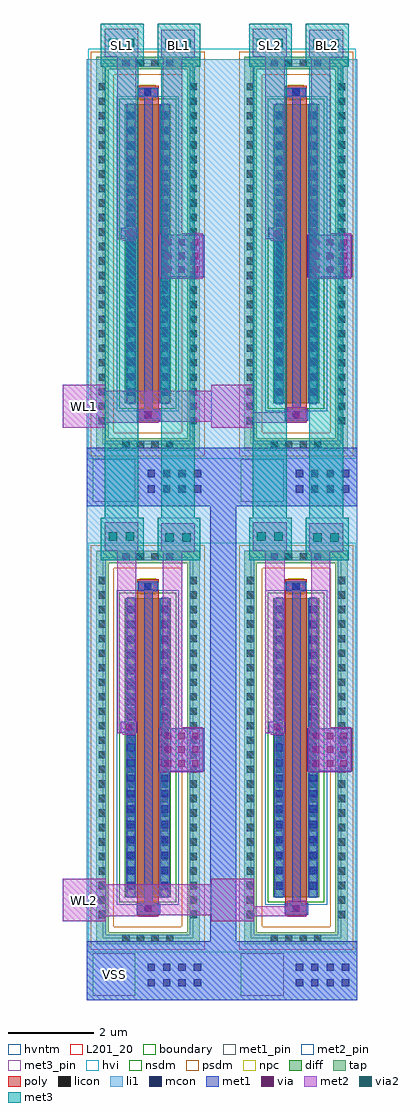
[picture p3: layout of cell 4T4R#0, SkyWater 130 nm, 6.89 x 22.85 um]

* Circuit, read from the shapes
.subckt 4T4R#0 BL1 BL2 SL1 SL2 VSS WL1 WL2
XM1 BL1 WL2 SL1 VSS sky130_fd_pr__nfet_g5v0d10v5 w=7 l=0.5
XM2 BL1 WL1 SL1 VSS sky130_fd_pr__nfet_g5v0d10v5 w=7 l=0.5
XM3 BL2 WL2 SL2 VSS sky130_fd_pr__nfet_g5v0d10v5 w=7 l=0.5
XM4 BL2 WL1 SL2 VSS sky130_fd_pr__nfet_g5v0d10v5 w=7 l=0.5
.ends

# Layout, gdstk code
import gdstk
lib = gdstk.Library(unit=1e-6, precision=1e-09)
def R(c, l, rs):  # rectangles x0, y0, x1, y1
    for r in rs: c.add(gdstk.rectangle(r[:2], r[2:], *l))
def A(c, l, x, y, w, h, nx, ny, dx, dy):  # array of equal rectangles
    R(c, l, [(x+i*dx, y+j*dy, x+i*dx+w, y+j*dy+h) for i in range(nx) for j in range(ny)])
diff = (65, 20)
tap = (65, 44)
poly = (66, 20)
licon = (66, 44)
li1 = (67, 20)
mcon = (67, 44)
met1_pin = (68, 16)
met1 = (68, 20)
via = (68, 44)
met2_pin = (69, 16)
met2 = (69, 20)
via2 = (69, 44)
met3_pin = (70, 16)
met3 = (70, 20)
hvi = (75, 20)
nsdm = (93, 44)
psdm = (94, 20)
npc = (95, 20)
hvntm = (125, 20)
L201_20 = (201, 20)
boundary = (235, 4)

sky130_fd_pr_reram__rera = lib.new_cell('sky130_fd_pr_reram__reram_cell')
R(sky130_fd_pr_reram__rera, met1_pin, [(0,-2,1,-1)])
R(sky130_fd_pr_reram__rera, met1, [(-0.03,-2,1.03,-1)])
A(sky130_fd_pr_reram__rera, via, 0.105, -1.895, 0.15, 0.15, 3, 3, 0.32, 0.32)
R(sky130_fd_pr_reram__rera, met2_pin, [(0,-2,1,-1)])
R(sky130_fd_pr_reram__rera, met2, [(0,-2.03,1,-0.97)])
R(sky130_fd_pr_reram__rera, L201_20, [(0,-2,1,-1)])
sky130_fd_pr_reram__rera.add(gdstk.Label('TE', (0.5,-1.5), layer=69, texttype=5))
sky130_fd_pr_reram__rera.add(gdstk.Label('BE', (0.5,-1.5), layer=68, texttype=5))

sky130_fd_pr__nfet_g5v0d = lib.new_cell('sky130_fd_pr__nfet_g5v0d10v5_9YEQ2B')
R(sky130_fd_pr__nfet_g5v0d, diff, [(-0.54,-3.5,0.54,3.5)])
R(sky130_fd_pr__nfet_g5v0d, tap, [(-1.21,-4.61,1.21,-4.32), (-1.21,-4.32,-0.92,4.32), (0.92,-4.32,1.21,4.32), (-1.21,4.32,1.21,4.61)])
R(sky130_fd_pr__nfet_g5v0d, poly, [(-0.25,-3.94,0.25,3.94)])
A(sky130_fd_pr__nfet_g5v0d, licon, -0.595, -4.55, 0.17, 0.17, 4, 2, 0.34, 8.93)
A(sky130_fd_pr__nfet_g5v0d, licon, -1.15, -3.995, 0.17, 0.17, 1, 24, 0, 0.34)
A(sky130_fd_pr__nfet_g5v0d, licon, 0.98, -3.995, 0.17, 0.17, 1, 24, 0, 0.34)
A(sky130_fd_pr__nfet_g5v0d, licon, -0.48, -3.315, 0.17, 0.17, 1, 20, 0, 0.34)
A(sky130_fd_pr__nfet_g5v0d, licon, 0.31, -3.315, 0.17, 0.17, 1, 20, 0, 0.34)
R(sky130_fd_pr__nfet_g5v0d, licon, [(-0.085,-3.86,0.085,-3.69), (-0.085,3.69,0.085,3.86)])
R(sky130_fd_pr__nfet_g5v0d, li1, [(-1.15,-4.55,1.15,-4.38), (-1.15,-4.38,-0.98,4.38), (0.98,-4.38,1.15,4.38), (-0.25,-3.86,0.25,-3.69), (-0.48,-3.52,-0.31,3.52), (0.31,-3.52,0.48,3.52), (-0.25,3.69,0.25,3.86), (-1.15,4.38,1.15,4.55)])
A(sky130_fd_pr__nfet_g5v0d, mcon, -0.48, -3.325, 0.17, 0.17, 1, 19, 0, 0.36)
A(sky130_fd_pr__nfet_g5v0d, mcon, 0.31, -3.325, 0.17, 0.17, 1, 19, 0, 0.36)
R(sky130_fd_pr__nfet_g5v0d, mcon, [(-0.085,-3.86,0.085,-3.69), (-0.085,3.69,0.085,3.86)])
R(sky130_fd_pr__nfet_g5v0d, met1, [(-0.23,-3.89,0.23,-3.66), (-0.51,-3.5,-0.28,3.5), (0.28,-3.5,0.51,3.5), (-0.23,3.66,0.23,3.89)])
R(sky130_fd_pr__nfet_g5v0d, hvi, [(-1.395,-4.795,1.395,4.795)])
R(sky130_fd_pr__nfet_g5v0d, nsdm, [(-0.665,-3.625,0.665,3.625)])
R(sky130_fd_pr__nfet_g5v0d, psdm, [(-1.335,-4.735,1.335,-4.195), (-1.335,-4.195,-0.795,4.195), (0.795,-4.195,1.335,4.195), (-1.335,4.195,1.335,4.735)])
R(sky130_fd_pr__nfet_g5v0d, npc, [(-0.185,-3.96,0.185,-3.59), (-0.185,3.59,0.185,3.96)])
R(sky130_fd_pr__nfet_g5v0d, hvntm, [(-0.725,-3.685,0.725,3.685)])
R(sky130_fd_pr__nfet_g5v0d, boundary, [(-1.06,-4.46,1.06,4.46)])

c_1t1r = lib.new_cell('1T1R')
R(c_1t1r, li1, [(3.12,-1.64,5.98,-0.28), (3.12,-0.28,3.4,8.82), (5.7,-0.28,5.98,8.82)])
A(c_1t1r, mcon, 4.545, -1.32, 0.17, 0.17, 4, 2, 0.36, 0.36)
R(c_1t1r, met1_pin, [(3.26,-1.54,4.26,-0.54)])
R(c_1t1r, met1, [(3.12,-1.64,5.98,-0.27), (4.29,0.36,4.84,0.63), (4.46,0.63,4.66,8.14), (3.91,4.62,4.3,4.88)])
R(c_1t1r, via, [(4.49,0.42,4.64,0.57), (4.03,4.675,4.18,4.825)])
R(c_1t1r, met2_pin, [(2.56,0.2,3.56,1.2)])
R(c_1t1r, met2, [(2.56,0.2,3.56,0.32), (4.34,0.31,4.79,0.32), (2.56,0.32,4.79,0.56), (2.56,0.56,3.56,1.2), (4.34,0.56,4.79,0.68), (4.9,4.43,5.35,8.86), (3.96,4.57,4.25,4.61), (3.83,4.61,4.28,8.88), (4.86,8.86,5.65,9.52), (3.54,8.88,4.33,9.54)])
R(c_1t1r, via2, [(4.955,9.09,5.155,9.29), (5.355,9.09,5.555,9.29), (3.635,9.11,3.835,9.31), (4.035,9.11,4.235,9.31)])
R(c_1t1r, met3_pin, [(3.45,8.65,4.45,9.65), (4.78,8.65,5.78,9.65)])
R(c_1t1r, met3, [(3.45,8.65,4.45,9.65), (4.78,8.65,5.78,9.65)])
c_1t1r.add(gdstk.Reference(sky130_fd_pr_reram__rera, (4.84,5.72)))
c_1t1r.add(gdstk.Reference(sky130_fd_pr__nfet_g5v0d, (4.55,4.27)))
c_1t1r.add(gdstk.Label('SL', (3.95,9.15), layer=70, texttype=5))
c_1t1r.add(gdstk.Label('VSS', (3.76,-1.04), layer=68, texttype=5))
c_1t1r.add(gdstk.Label('WL', (3.06,0.7), layer=69, texttype=5))
c_1t1r.add(gdstk.Label('BL', (5.28,9.15), layer=70, texttype=5))

c_4t4r_0 = lib.new_cell('4T4R#0')
R(c_4t4r_0, li1, [(5.73,4.27,6.42,5.64), (5.73,5.64,6.34,14.73), (2.87,14.73,9.2,15.83), (5.73,15.83,6.34,16.86), (5.68,16.86,6.34,26.29)])
R(c_4t4r_0, met1_pin, [(3.01,4.37,4.01,5.37)])
R(c_4t4r_0, met1, [(5.62,4.27,6.42,5.64), (3.01,4.37,4.01,5.37), (5.76,5.64,6.37,15.83), (5.67,15.83,6.37,17.2)])
R(c_4t4r_0, met2_pin, [(2.31,6.11,3.31,7.11), (2.31,17.67,3.31,18.67)])
R(c_4t4r_0, met2, [(2.31,6.11,3.31,6.26), (2.31,6.26,6.72,6.98), (2.31,6.98,3.31,7.11), (2.31,17.67,3.31,17.81), (2.31,17.81,6.62,18.53), (2.31,18.53,3.31,18.67)])
R(c_4t4r_0, met3_pin, [(3.2,26.12,4.2,27.12), (4.53,26.12,5.53,27.12), (6.67,26.12,7.67,27.12), (8,26.12,9,27.12)])
R(c_4t4r_0, met3, [(3.29,14.78,4.08,26.12), (4.61,14.82,5.4,26.12), (6.76,14.83,7.55,26.12), (8.08,15.14,8.87,26.12), (3.2,26.12,4.2,27.12), (4.53,26.12,5.53,27.12), (6.67,26.12,7.67,27.12), (8,26.12,9,27.12)])
R(c_4t4r_0, hvi, [(5.695,5.385,6.375,14.975), (5.695,16.945,6.375,26.535)])
c_4t4r_0.add(gdstk.Reference(c_1t1r, (3.22,5.91)))
c_4t4r_0.add(gdstk.Reference(c_1t1r, (3.22,17.47)))
c_4t4r_0.add(gdstk.Reference(c_1t1r, (-0.25,5.91)))
c_4t4r_0.add(gdstk.Reference(c_1t1r, (-0.25,17.47)))
c_4t4r_0.add(gdstk.Label('VSS', (3.51,4.87), layer=68, texttype=5))
c_4t4r_0.add(gdstk.Label('BL1', (5.03,26.62), layer=70, texttype=5))
c_4t4r_0.add(gdstk.Label('BL2', (8.5,26.62), layer=70, texttype=5))
c_4t4r_0.add(gdstk.Label('WL1', (2.81,18.17), layer=69, texttype=5))
c_4t4r_0.add(gdstk.Label('WL2', (2.81,6.61), layer=69, texttype=5))
c_4t4r_0.add(gdstk.Label('SL1', (3.7,26.62), layer=70, texttype=5))
c_4t4r_0.add(gdstk.Label('SL2', (7.17,26.62), layer=70, texttype=5))

lib.write_gds('4T4R_0.gds')
